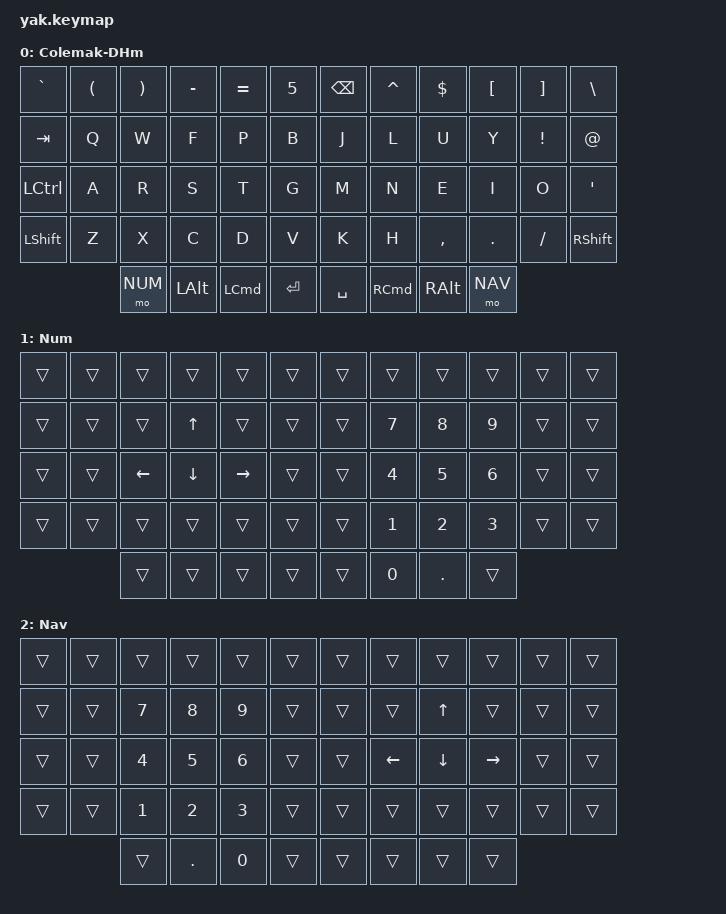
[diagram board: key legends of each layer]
#include <behaviors.dtsi>
#include <dt-bindings/zmk/keys.h>

#define NUM 1
#define NAV 2

/ {

    keymap {
        compatible = "zmk,keymap";

        colemak_dhm_layer {
            label = "Colemak-DHm";
            bindings = <
                &kp GRAVE  &kp LPAR   &kp RPAR   &kp MINUS  &kp EQUAL  &kp N5        &kp BSPC   &kp CARET  &kp DOLLAR &kp LBKT   &kp RBKT   &kp BSLH
                &kp TAB    &kp Q      &kp W      &kp F      &kp P      &kp B         &kp J      &kp L      &kp U      &kp Y      &kp EXCL   &kp AT
                &kp LCTRL  &kp A      &kp R      &kp S      &kp T      &kp G         &kp M      &kp N      &kp E      &kp I      &kp O      &kp QUOT
                &kp LSHFT  &kp Z      &kp X      &kp C      &kp D      &kp V         &kp K      &kp H      &kp COMMA  &kp DOT    &kp FSLH   &kp RSHFT
                                     &mo  NUM    &kp LALT   &kp LCMD    &kp RETURN  &kp SPACE   &kp RCMD   &kp RALT    &mo NAV
            >;
        };

        num_layer {
            label = "Num";
            bindings = <
                &trans     &trans     &trans     &trans     &trans     &trans        &trans     &trans     &trans     &trans     &trans     &trans
                &trans     &trans     &trans     &kp UP     &trans     &trans        &trans     &kp N7     &kp N8     &kp N9     &trans     &trans
                &trans     &trans     &kp LEFT   &kp DOWN   &kp RIGHT  &trans        &trans     &kp N4     &kp N5     &kp N6     &trans     &trans
                &trans     &trans     &trans     &trans     &trans     &trans        &trans     &kp N1     &kp N2     &kp N3     &trans     &trans
                                     &trans      &trans     &trans      &trans      &trans      &kp N0     &kp DOT     &trans
            >;
        };

        nav_layer {
            label = "Nav";
            bindings = <
                &trans     &trans     &trans     &trans     &trans     &trans        &trans     &trans     &trans     &trans     &trans     &trans
                &trans     &trans     &kp N7     &kp N8     &kp N9     &trans        &trans     &trans     &kp UP     &trans     &trans     &trans
                &trans     &trans     &kp N4     &kp N5     &kp N6     &trans        &trans     &kp LEFT   &kp DOWN   &kp RIGHT  &trans     &trans
                &trans     &trans     &kp N1     &kp N2     &kp N3     &trans        &trans     &trans     &trans     &trans     &trans     &trans
                                     &trans      &kp DOT    &kp N0      &trans      &trans      &trans     &trans      &trans
            >;
        };
    };
};
